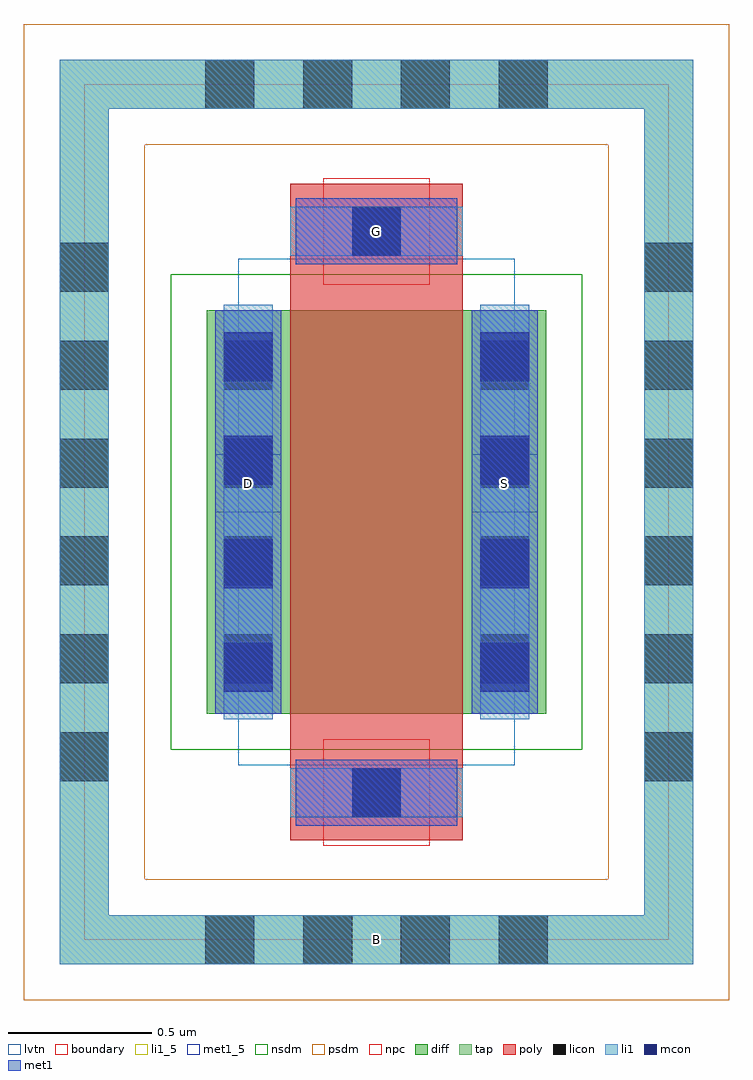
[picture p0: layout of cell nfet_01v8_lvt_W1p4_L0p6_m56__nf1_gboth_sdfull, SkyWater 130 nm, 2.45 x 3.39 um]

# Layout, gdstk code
import gdstk
lib = gdstk.Library(unit=1e-6, precision=1e-09)
def R(c, l, rs):  # rectangles x0, y0, x1, y1
    for r in rs: c.add(gdstk.rectangle(r[:2], r[2:], *l))
def A(c, l, x, y, w, h, nx, ny, dx, dy):  # array of equal rectangles
    R(c, l, [(x+i*dx, y+j*dy, x+i*dx+w, y+j*dy+h) for i in range(nx) for j in range(ny)])
diff = (65, 20)
tap = (65, 44)
poly = (66, 20)
licon = (66, 44)
li1_5 = (67, 5)
li1 = (67, 20)
mcon = (67, 44)
met1_5 = (68, 5)
met1 = (68, 20)
nsdm = (93, 44)
psdm = (94, 20)
npc = (95, 20)
lvtn = (125, 44)
boundary = (235, 4)

sky130_fd_pr__nfet_01v8_ = lib.new_cell('sky130_fd_pr__nfet_01v8_lvt_YUCGQM')
R(sky130_fd_pr__nfet_01v8_, diff, [(-0.59,-0.7,0.59,0.7)])
R(sky130_fd_pr__nfet_01v8_, tap, [(-1.1,-1.57,1.1,-1.4), (-1.1,-1.4,-0.93,1.4), (0.93,-1.4,1.1,1.4), (-1.1,1.4,1.1,1.57)])
R(sky130_fd_pr__nfet_01v8_, poly, [(-0.3,-1.14,0.3,1.14)])
A(sky130_fd_pr__nfet_01v8_, licon, -0.595, -1.57, 0.17, 0.17, 4, 2, 0.34, 2.97)
A(sky130_fd_pr__nfet_01v8_, licon, -1.1, -0.935, 0.17, 0.17, 1, 6, 0, 0.34)
A(sky130_fd_pr__nfet_01v8_, licon, 0.93, -0.935, 0.17, 0.17, 1, 6, 0, 0.34)
A(sky130_fd_pr__nfet_01v8_, licon, -0.53, -0.595, 0.17, 0.17, 1, 4, 0, 0.34)
A(sky130_fd_pr__nfet_01v8_, licon, 0.36, -0.595, 0.17, 0.17, 1, 4, 0, 0.34)
R(sky130_fd_pr__nfet_01v8_, licon, [(-0.085,-1.06,0.085,-0.89), (-0.085,0.89,0.085,1.06)])
R(sky130_fd_pr__nfet_01v8_, li1, [(-1.1,-1.57,1.1,-1.4), (-1.1,-1.4,-0.93,1.4), (0.93,-1.4,1.1,1.4), (-0.3,-1.06,0.3,-0.89), (-0.53,-0.72,-0.36,0.72), (0.36,-0.72,0.53,0.72), (-0.3,0.89,0.3,1.06), (-1.1,1.4,1.1,1.57)])
A(sky130_fd_pr__nfet_01v8_, mcon, -0.53, -0.625, 0.17, 0.17, 1, 4, 0, 0.36)
A(sky130_fd_pr__nfet_01v8_, mcon, 0.36, -0.625, 0.17, 0.17, 1, 4, 0, 0.36)
R(sky130_fd_pr__nfet_01v8_, mcon, [(-0.085,-1.06,0.085,-0.89), (-0.085,0.89,0.085,1.06)])
R(sky130_fd_pr__nfet_01v8_, met1, [(-0.28,-1.09,0.28,-0.86), (-0.56,-0.7,-0.33,0.7), (0.33,-0.7,0.56,0.7), (-0.28,0.86,0.28,1.09)])
R(sky130_fd_pr__nfet_01v8_, nsdm, [(-0.715,-0.825,0.715,0.825)])
R(sky130_fd_pr__nfet_01v8_, psdm, [(-1.225,-1.695,1.225,-1.275), (-1.225,-1.275,-0.805,1.275), (0.805,-1.275,1.225,1.275), (-1.225,1.275,1.225,1.695)])
R(sky130_fd_pr__nfet_01v8_, npc, [(-0.185,-1.16,0.185,-0.79), (-0.185,0.79,0.185,1.16)])
R(sky130_fd_pr__nfet_01v8_, lvtn, [(-0.48,-0.88,0.48,0.88)])
R(sky130_fd_pr__nfet_01v8_, boundary, [(-1.015,-1.485,1.015,1.485)])
sky130_fd_pr__nfet_01v8_.add(gdstk.Label('B', (0,-1.485), layer=67, texttype=5))
sky130_fd_pr__nfet_01v8_.add(gdstk.Label('D', (-0.445,0), layer=67, texttype=5))
sky130_fd_pr__nfet_01v8_.add(gdstk.Label('S', (0.445,0), layer=67, texttype=5))
sky130_fd_pr__nfet_01v8_.add(gdstk.Label('G', (0,0.975), layer=67, texttype=5))

nfet_01v8_lvt_w1p4_l0p6_ = lib.new_cell('nfet_01v8_lvt_W1p4_L0p6_m56__nf1_gboth_sdfull')
R(nfet_01v8_lvt_w1p4_l0p6_, li1_5, [(0.93,-0.085,1.1,0.085)])
R(nfet_01v8_lvt_w1p4_l0p6_, li1, [(0.93,-0.085,1.1,0.085)])
R(nfet_01v8_lvt_w1p4_l0p6_, met1_5, [(0.455,1.485,0.685,1.685), (1.345,1.485,1.575,1.685), (0.735,2.345,1.295,2.575)])
R(nfet_01v8_lvt_w1p4_l0p6_, met1, [(0.455,1.485,0.685,1.685), (1.345,1.485,1.575,1.685), (0.735,2.345,1.295,2.575)])
nfet_01v8_lvt_w1p4_l0p6_.add(gdstk.Reference(sky130_fd_pr__nfet_01v8_, (1.015,1.485)))
nfet_01v8_lvt_w1p4_l0p6_.add(gdstk.Label('D', (0.57,1.585), layer=68, texttype=5))
nfet_01v8_lvt_w1p4_l0p6_.add(gdstk.Label('S', (1.46,1.585), layer=68, texttype=5))
nfet_01v8_lvt_w1p4_l0p6_.add(gdstk.Label('G', (1.015,2.46), layer=68, texttype=5))
nfet_01v8_lvt_w1p4_l0p6_.add(gdstk.Label('B', (1.015,0), layer=67, texttype=5))

lib.write_gds('nfet_01v8_lvt_W1p4_L0p6_m56__nf1_gboth_sdfull.gds')
